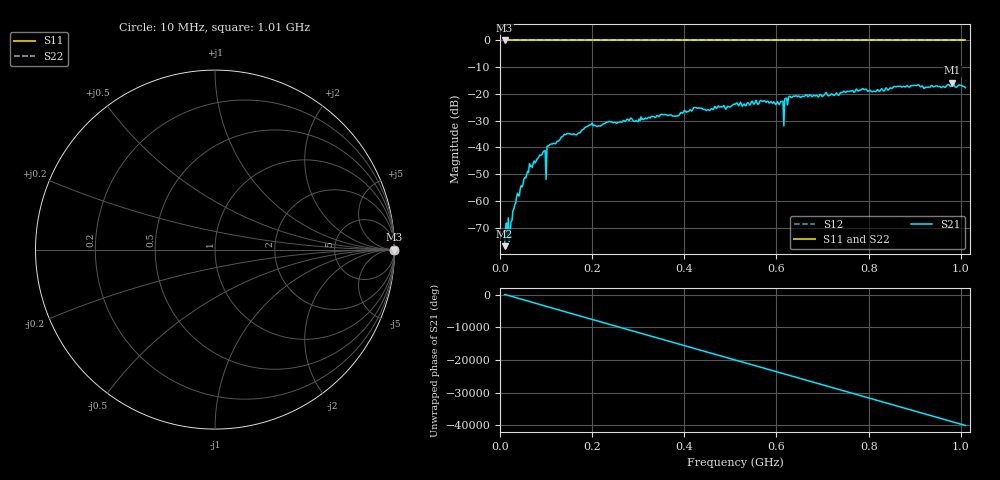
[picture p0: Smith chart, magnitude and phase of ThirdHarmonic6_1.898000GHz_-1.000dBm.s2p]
! 8/16/2025 10:54:50 PM
! C:\ANRITSUVNA\TEMP\TEMP.S2P
! CHANNEL.1
! TR.MEASUREMENT
! RAW.DATA
! RF.CORRECTION.OFF
! AVERAGING.OFF
! IF.BANDWIDTH: 5KHZ
! SWEEPTYPE:  FREQ.SWEEP(Linear)
! Reference Plane Port Info
! PORT:  PORT1  PORT2
! DISTANCE:  0  m  0  m
! TIME:  0  s  0  s
! PHASE.OFFSET:  0  deg.  0  deg.
! LOSS:  0  dB  0  dB
! REF.LOSS:  0  dB  0  dB
! REF.FREQ:  0  Hz  0  Hz
! Power Info
! POWER:  -20  dBm  -20  dBm
! EFF.POWER:  -20  dBm  -20  dBm
! SOURCE.ATTEN:  0  dB  0  dB
! TEST.ATTEN:  0  dB  0  dB
# GHZ S RI R 50.0
! FREQ.GHZ  S11RE  S11IM  S21RE  S21IM  S12RE  S12IM  S22RE  S22IM
!; PortSelection: Port_12
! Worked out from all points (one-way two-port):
!   501 points, 10 MHz to 1.01 GHz, reference 50 ohm
!   highest |S21| = -15.79 dB at 982 MHz (marker M1); lowest = -76.9 dB at 10 MHz (marker M2)
!   lowest |S11| = 0.0 dB at 10 MHz (marker M3)
!   |S11| at or under -10 dB: nowhere
!   |S22| runs from 0.0 to 0.0 dB; largest |S21 - S12| = 1.2
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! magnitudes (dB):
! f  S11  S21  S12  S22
! 10 MHz  0.0  -76.9  0.0  0.0
! 14 MHz  0.0  -68.2  0.0  0.0
! 24 MHz  0.0  -67.6  0.0  0.0
! 36 MHz  0.0  -58.4  0.0  0.0
! 64 MHz  0.0  -46.0  0.0  0.0
! 94 MHz  0.0  -41.5  0.0  0.0
! 96 MHz  0.0  -41.3  0.0  0.0
! 104 MHz  0.0  -39.5  0.0  0.0
! 106 MHz  0.0  -39.4  0.0  0.0
! 142 MHz  0.0  -35.2  0.0  0.0
! 178 MHz  0.0  -33.4  0.0  0.0
! 196 MHz  0.0  -31.4  0.0  0.0
! 344 MHz  0.0  -28.5  0.0  0.0
! 510 MHz  0.0  -23.9  0.0  0.0
! 570 MHz  0.0  -22.8  0.0  0.0
! 610 MHz  0.0  -22.8  0.0  0.0
! 612 MHz  0.0  -22.8  0.0  0.0
! 630 MHz  0.0  -21.0  0.0  0.0
! 678 MHz  0.0  -21.0  0.0  0.0
! 844 MHz  0.0  -18.3  0.0  0.0
! 982 MHz  0.0  -15.8  0.0  0.0
! 1.01 GHz  0.0  -17.7  0.0  0.0
